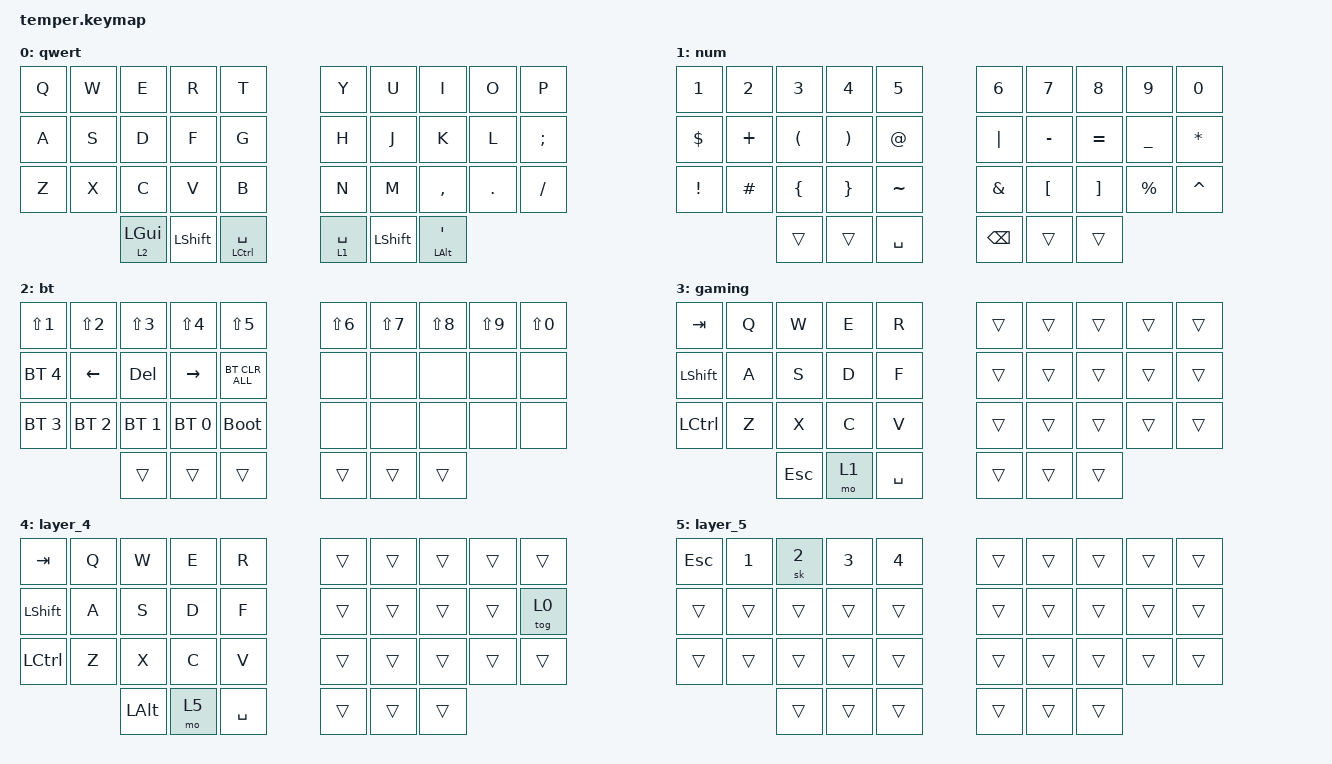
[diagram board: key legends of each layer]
/*
 * Copyright (c) 2020 The ZMK Contributors
 *
 * SPDX-License-Identifier: MIT
 */

#include <behaviors.dtsi>
#include <dt-bindings/zmk/bt.h>
#include <dt-bindings/zmk/keys.h>

#define DEFAULT 0
#define QWERTY 1
#define NUM 2
#define NAV 3
#define FUN 4

/ {
    conditional_layers {
        compatible = "zmk,conditional-layers";

        tri_layer {
            if-layers = <1 2>;
            then-layer = <3>;
        };
    };

    behaviors {
        bspc_del: backspace_delete {
            compatible = "zmk,behavior-mod-morph";
            #binding-cells = <0>;
            bindings = <&kp BACKSPACE>, <&kp DELETE>;

            mods = <(MOD_LSFT|MOD_RSFT)>;
            keep-mods = <(MOD_RSFT)>;
        };

        super_bspc: super_backspace {
            compatible = "zmk,behavior-mod-morph";
            #binding-cells = <0>;
            bindings = <&kp BACKSPACE>, <&kp LA(BACKSPACE)>;

            mods = <(MOD_LSFT|MOD_RSFT)>;
        };

        smart_shft: smart_shift {
            compatible = "zmk,behavior-mod-morph";
            #binding-cells = <0>;
            bindings = <&kp LSHFT>, <&caps_word>;

            mods = <(MOD_LSFT)>;
        };

        comma_semi: comma_semi {
            compatible = "zmk,behavior-mod-morph";
            #binding-cells = <0>;
            bindings = <&kp COMMA>, <&kp SEMI>;

            mods = <(MOD_LSFT)>;
        };

        dot_colon: dot_colon {
            compatible = "zmk,behavior-mod-morph";
            #binding-cells = <0>;
            bindings = <&kp DOT>, <&kp COLON>;

            mods = <(MOD_LSFT)>;
        };

        qmrk_excl: qmrk_excl {
            compatible = "zmk,behavior-mod-morph";
            #binding-cells = <0>;
            bindings = <&kp QMARK>, <&kp EXCL>;

            mods = <(MOD_LSFT)>;
        };

        slh_morph: slh_morph {
            compatible = "zmk,behavior-mod-morph";
            #binding-cells = <0>;
            bindings = <&kp FSLH>, <&kp BSLH>;

            mods = <(MOD_LSFT)>;
        };

        amps_morph: amps_morph {
            compatible = "zmk,behavior-mod-morph";
            #binding-cells = <0>;
            bindings = <&kp AMPS>, <&kp PIPE>;

            mods = <(MOD_LSFT)>;
        };
    };

    combos {
        compatible = "zmk,combos";

        a {
            bindings = <&kp ESCAPE>;
            key-positions = <1 0>;
        };

        b {
            bindings = <&kp CAPS>;
            key-positions = <11 10>;
        };

        c {
            bindings = <&kp TAB>;
            key-positions = <21 20>;
        };

        d {
            bindings = <&kp BACKSPACE>;
            key-positions = <9 8>;
        };

        e {
            bindings = <&kp ENTER>;
            key-positions = <18 19>;
        };

        f {
            bindings = <&kp MINUS>;
            key-positions = <16 17>;
        };

        g {
            bindings = <&kp EQUAL>;
            key-positions = <17 18>;
        };

        gaming_layer {
            bindings = <&to 4>;
            key-positions = <4 24 14>;
        };

        bootloader {
            bindings = <&bootloader>;
            key-positions = <0 10 20>;
        };
    };

    keymap {
        compatible = "zmk,keymap";

        qwert {
            bindings = <
  &kp Q  &kp W  &kp E           &kp R           &kp T              &kp Y        &kp U           &kp I             &kp O    &kp P
  &kp A  &kp S  &kp D           &kp F           &kp G              &kp H        &kp J           &kp K             &kp L    &kp SEMICOLON
  &kp Z  &kp X  &kp C           &kp V           &kp B              &kp N        &kp M           &kp COMMA         &kp DOT  &kp FSLH
                &lt 2 LEFT_GUI  &kp LEFT_SHIFT  &mt LCTRL SPACE    &lt 1 SPACE  &kp LEFT_SHIFT  &mt LEFT_ALT SQT
            >;
        };

        num {
            bindings = <
  &kp N1           &kp N2    &kp N3                &kp N4                 &kp N5         &kp N6         &kp N7            &kp N8             &kp N9          &kp N0
  &kp DOLLAR       &kp PLUS  &kp LEFT_PARENTHESIS  &kp RIGHT_PARENTHESIS  &kp AT_SIGN    &kp PIPE       &kp MINUS         &kp EQUAL          &kp UNDERSCORE  &kp ASTERISK
  &kp EXCLAMATION  &kp HASH  &kp LEFT_BRACE        &kp RIGHT_BRACE        &kp TILDE      &kp AMPERSAND  &kp LEFT_BRACKET  &kp RIGHT_BRACKET  &kp PERCENT     &kp CARET
                             &trans                &trans                 &kp SPACE      &kp BACKSPACE  &trans            &trans
            >;
        };

        bt {
            bindings = <
  &kp LS(N1)    &kp LS(N2)    &kp LS(N3)    &kp LS(N4)    &kp LS(N5)        &kp LS(N6)  &kp LS(N7)  &kp LS(N8)  &kp LS(N9)  &kp LS(N0)
  &bt BT_SEL 4  &kp LEFT      &kp DEL       &kp RIGHT     &bt BT_CLR_ALL    &none       &none       &none       &none       &none
  &bt BT_SEL 3  &bt BT_SEL 2  &bt BT_SEL 1  &bt BT_SEL 0  &bootloader       &none       &none       &none       &none       &none
                              &trans        &trans        &trans            &trans      &trans      &trans
            >;
        };

        gaming {
            bindings = <
  &kp TAB         &kp Q  &kp W    &kp E  &kp R        &trans  &trans  &trans  &trans  &trans
  &kp LEFT_SHIFT  &kp A  &kp S    &kp D  &kp F        &trans  &trans  &trans  &trans  &trans
  &kp LCTRL       &kp Z  &kp X    &kp C  &kp V        &trans  &trans  &trans  &trans  &trans
                         &kp ESC  &mo 1  &kp SPACE    &trans  &trans  &trans
            >;
        };

        layer_4 {
            bindings = <
  &kp TAB         &kp Q  &kp W         &kp E  &kp R        &trans  &trans  &trans  &trans  &trans
  &kp LEFT_SHIFT  &kp A  &kp S         &kp D  &kp F        &trans  &trans  &trans  &trans  &tog 0
  &kp LCTRL       &kp Z  &kp X         &kp C  &kp V        &trans  &trans  &trans  &trans  &trans
                         &kp LEFT_ALT  &mo 5  &kp SPACE    &trans  &trans  &trans
            >;
        };

        layer_5 {
            bindings = <
  &kp ESC  &kp N1  &sk NUMBER_2  &kp N3  &kp N4    &trans  &trans  &trans  &trans  &trans
  &trans   &trans  &trans        &trans  &trans    &trans  &trans  &trans  &trans  &trans
  &trans   &trans  &trans        &trans  &trans    &trans  &trans  &trans  &trans  &trans
                   &trans        &trans  &trans    &trans  &trans  &trans
            >;
        };
    };
};
